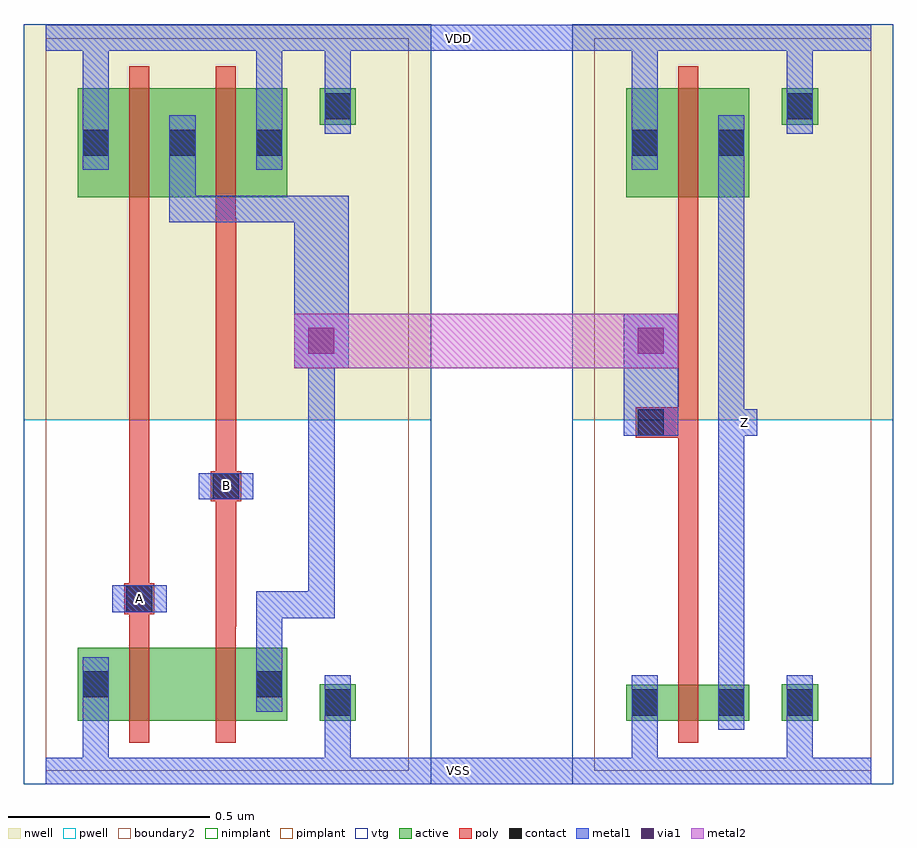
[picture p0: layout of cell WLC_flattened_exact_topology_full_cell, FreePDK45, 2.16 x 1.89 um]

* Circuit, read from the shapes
.subckt WLC_flattened_exact_topology_full_cell A B VDD VSS Z
M1 n1 A VSS VSS nfet w=0.181u l=0.049u
M2 n2 B n1 VSS nfet w=0.181u l=0.05u
M3 Z n2 VSS VSS nfet w=0.09u l=0.05u
M4 n2 A VDD VDD pfet w=0.27u l=0.049u
M5 VDD B n2 VDD pfet w=0.27u l=0.05u
M6 Z n2 VDD VDD pfet w=0.27u l=0.05u
.ends

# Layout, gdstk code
import gdstk
lib = gdstk.Library(unit=1e-6, precision=1e-09)
def R(c, l, rs):  # rectangles x0, y0, x1, y1
    for r in rs: c.add(gdstk.rectangle(r[:2], r[2:], *l))
active = (1, 0)
pwell = (2, 0)
nwell = (3, 0)
nimplant = (4, 0)
pimplant = (5, 0)
vtg = (6, 0)
poly = (9, 0)
contact = (10, 0)
metal1 = (11, 0)
via1 = (12, 0)
metal2 = (13, 0)
boundary2 = (239, 0)

wlc_flattened_exact_topo = lib.new_cell('WLC_flattened_exact_topology_full_cell')
R(wlc_flattened_exact_topo, active, [(0.135,0.157,0.44,0.338), (0.35,0.157,0.655,0.338), (0.735,0.157,0.825,0.248), (1.497,0.157,1.587,0.247), (1.497,0.157,1.802,0.247), (1.712,0.157,1.802,0.247), (1.882,0.157,1.973,0.248), (0.135,0.202,0.225,0.292), (0.35,0.202,0.44,0.292), (0.35,0.202,0.44,0.292), (0.565,0.202,0.655,0.292), (0.135,1.457,0.44,1.727), (0.35,1.457,0.655,1.727), (1.497,1.457,1.802,1.727), (0.135,1.548,0.225,1.637), (0.35,1.548,0.44,1.637), (0.35,1.548,0.44,1.637), (0.565,1.548,0.655,1.637), (1.497,1.548,1.587,1.637), (1.712,1.548,1.802,1.637), (0.735,1.637,0.825,1.727), (1.882,1.637,1.973,1.727)])
R(wlc_flattened_exact_topo, pwell, [(0,0,1.012,0.905), (1.363,0,2.16,0.905), (0.055,0.077,0.52,0.417), (0.27,0.077,0.735,0.417), (1.417,0.077,1.882,0.328), (0.68,0.103,0.88,0.302), (1.442,0.103,1.642,0.302), (1.657,0.103,1.857,0.302), (1.828,0.103,2.027,0.302), (0.08,0.147,0.28,0.348), (0.51,0.147,0.71,0.348)])
R(wlc_flattened_exact_topo, nwell, [(0,0.905,1.012,1.887), (1.363,0.905,2.16,1.887), (0.055,1.377,0.52,1.808), (0.27,1.377,0.735,1.808), (1.417,1.377,1.882,1.808), (0.08,1.492,0.28,1.693), (0.295,1.492,0.495,1.693), (0.295,1.492,0.495,1.693), (0.51,1.492,0.71,1.693), (1.442,1.492,1.642,1.693), (1.657,1.492,1.857,1.693), (0.68,1.582,0.88,1.782), (1.828,1.582,2.027,1.782)])
R(wlc_flattened_exact_topo, nimplant, [(0.135,0.157,0.44,0.338), (0.35,0.157,0.655,0.338), (1.497,0.157,1.587,0.247), (1.497,0.157,1.802,0.247), (1.712,0.157,1.802,0.247), (0.135,0.202,0.225,0.292), (0.565,0.202,0.655,0.292), (0.735,1.637,0.825,1.727), (1.882,1.637,1.973,1.727)])
R(wlc_flattened_exact_topo, pimplant, [(0.735,0.157,0.825,0.248), (1.882,0.157,1.973,0.248), (0.135,1.457,0.44,1.727), (0.35,1.457,0.655,1.727), (1.497,1.457,1.802,1.727), (0.135,1.548,0.225,1.637), (0.35,1.548,0.44,1.637), (0.35,1.548,0.44,1.637), (0.565,1.548,0.655,1.637), (1.497,1.548,1.587,1.637), (1.712,1.548,1.802,1.637)])
R(wlc_flattened_exact_topo, vtg, [(0,0,1.012,0.905), (1.363,0,2.16,0.905), (0.055,0.077,0.52,0.417), (0.27,0.077,0.735,0.417), (1.417,0.077,1.882,0.328), (0,0.905,1.012,1.887), (1.363,0.905,2.16,1.887), (0.055,1.377,0.52,1.808), (0.27,1.377,0.735,1.808), (1.417,1.377,1.882,1.808)])
R(wlc_flattened_exact_topo, poly, [(0.263,0.103,0.312,0.392), (0.263,0.103,0.312,0.392), (0.477,0.103,0.527,0.392), (0.477,0.103,0.527,0.392), (1.625,0.103,1.675,0.302), (1.625,0.103,1.675,0.302), (1.625,0.302,1.675,1.403), (0.263,0.392,0.312,1.403), (0.477,0.392,0.528,1.403), (0.25,0.422,0.325,0.498), (0.263,0.422,0.288,0.498), (0.465,0.702,0.54,0.777), (0.477,0.702,0.503,0.777), (1.52,0.86,1.595,0.935), (1.558,0.86,1.625,0.935), (0.263,1.403,0.312,1.782), (0.263,1.403,0.312,1.782), (0.477,1.403,0.527,1.782), (0.477,1.403,0.527,1.782), (1.625,1.403,1.675,1.782), (1.625,1.403,1.675,1.782)])
R(wlc_flattened_exact_topo, contact, [(0.748,0.17,0.813,0.235), (1.51,0.17,1.575,0.235), (1.725,0.17,1.79,0.235), (1.895,0.17,1.96,0.235), (0.147,0.215,0.212,0.28), (0.578,0.215,0.642,0.28), (0.255,0.427,0.32,0.493), (0.47,0.707,0.535,0.772), (1.525,0.865,1.59,0.93), (0.147,1.56,0.212,1.625), (0.362,1.56,0.427,1.625), (0.362,1.56,0.427,1.625), (0.578,1.56,0.642,1.625), (1.51,1.56,1.575,1.625), (1.725,1.56,1.79,1.625), (0.748,1.65,0.813,1.715), (1.895,1.65,1.96,1.715)])
R(wlc_flattened_exact_topo, metal1, [(0.055,0,2.105,0.065), (0.055,0,0.957,0.065), (0.055,0,0.957,0.065), (0.147,0,0.212,0.18), (1.417,0,2.105,0.065), (1.417,0,2.105,0.065), (1.51,0,1.575,0.135), (0.748,0.033,0.813,0.203), (1.895,0.033,1.96,0.203), (0.748,0.135,0.813,0.27), (1.51,0.135,1.575,0.27), (1.51,0.135,1.575,0.27), (1.725,0.135,1.79,0.27), (1.725,0.135,1.79,0.27), (1.725,0.135,1.79,1.66), (1.895,0.135,1.96,0.27), (0.147,0.18,0.212,0.315), (0.147,0.18,0.212,0.315), (0.578,0.18,0.642,0.315), (0.578,0.18,0.642,0.315), (0.578,0.315,0.643,0.445), (0.578,0.412,0.643,0.478), (0.61,0.412,0.74,0.478), (0.707,0.412,0.773,0.478), (0.22,0.427,0.355,0.493), (0.22,0.427,0.355,0.493), (0.22,0.427,0.355,0.493), (0.707,0.445,0.773,1.427), (0.435,0.707,0.57,0.772), (0.435,0.707,0.57,0.772), (0.435,0.707,0.57,0.772), (1.49,0.865,1.625,1.167), (1.49,0.865,1.625,0.93), (1.49,0.865,1.625,0.93), (1.49,0.865,1.625,0.93), (1.757,0.865,1.822,0.93), (1.757,0.865,1.822,0.93), (0.672,1.032,0.807,1.46), (0.362,1.395,0.427,1.46), (0.395,1.395,0.74,1.46), (0.707,1.395,0.773,1.46), (0.707,1.395,0.773,1.46), (0.362,1.427,0.427,1.525), (0.147,1.525,0.212,1.885), (0.147,1.525,0.212,1.66), (0.147,1.525,0.212,1.66), (0.362,1.525,0.427,1.66), (0.362,1.525,0.427,1.66), (0.362,1.525,0.427,1.66), (0.362,1.525,0.427,1.66), (0.578,1.525,0.643,1.885), (0.578,1.525,0.642,1.66), (0.578,1.525,0.642,1.66), (1.51,1.525,1.575,1.885), (1.51,1.525,1.575,1.66), (1.51,1.525,1.575,1.66), (1.725,1.525,1.79,1.66), (1.725,1.525,1.79,1.66), (0.748,1.615,0.813,1.75), (1.895,1.615,1.96,1.75), (0.748,1.683,0.813,1.852), (1.895,1.683,1.96,1.852), (0.055,1.82,2.105,1.885), (0.055,1.82,0.957,1.885), (0.055,1.82,0.957,1.885), (1.417,1.82,2.105,1.885), (1.417,1.82,2.105,1.885)])
R(wlc_flattened_exact_topo, via1, [(0.707,1.068,0.772,1.133), (1.525,1.068,1.59,1.133)])
R(wlc_flattened_exact_topo, metal2, [(0.672,1.032,0.807,1.167), (0.74,1.032,1.558,1.167), (1.49,1.032,1.625,1.167)])
R(wlc_flattened_exact_topo, boundary2, [(0.055,0.033,0.957,1.852), (0.055,0.033,0.957,1.852), (0.055,0.033,0.957,1.852), (1.417,0.033,2.105,1.852), (1.417,0.033,2.105,1.852), (1.417,0.033,2.105,1.852), (0.055,0.077,0.52,0.417), (0.27,0.077,0.735,0.417), (1.417,0.077,1.882,0.328), (0.68,0.103,0.88,0.302), (1.442,0.103,1.642,0.302), (1.657,0.103,1.857,0.302), (1.828,0.103,2.027,0.302), (0.08,0.147,0.28,0.348), (0.51,0.147,0.71,0.348), (0.22,0.422,0.355,0.498), (0.435,0.702,0.57,0.777), (1.49,0.86,1.625,0.935), (0.055,1.377,0.52,1.808), (0.27,1.377,0.735,1.808), (1.417,1.377,1.882,1.808), (0.08,1.492,0.28,1.693), (0.295,1.492,0.495,1.693), (0.295,1.492,0.495,1.693), (0.51,1.492,0.71,1.693), (1.442,1.492,1.642,1.693), (1.657,1.492,1.857,1.693), (0.68,1.582,0.88,1.782), (1.828,1.582,2.027,1.782)])
wlc_flattened_exact_topo.add(gdstk.Label('A', (0.288,0.46), layer=11, texttype=2))
wlc_flattened_exact_topo.add(gdstk.Label('B', (0.503,0.74), layer=11, texttype=2))
wlc_flattened_exact_topo.add(gdstk.Label('Z', (1.79,0.897), layer=11, texttype=2))
wlc_flattened_exact_topo.add(gdstk.Label('VDD', (1.08,1.852), layer=11, texttype=2))
wlc_flattened_exact_topo.add(gdstk.Label('VSS', (1.08,0.033), layer=11, texttype=2))

lib.write_gds('WLC_flattened_exact_topology_full_cell.gds')
